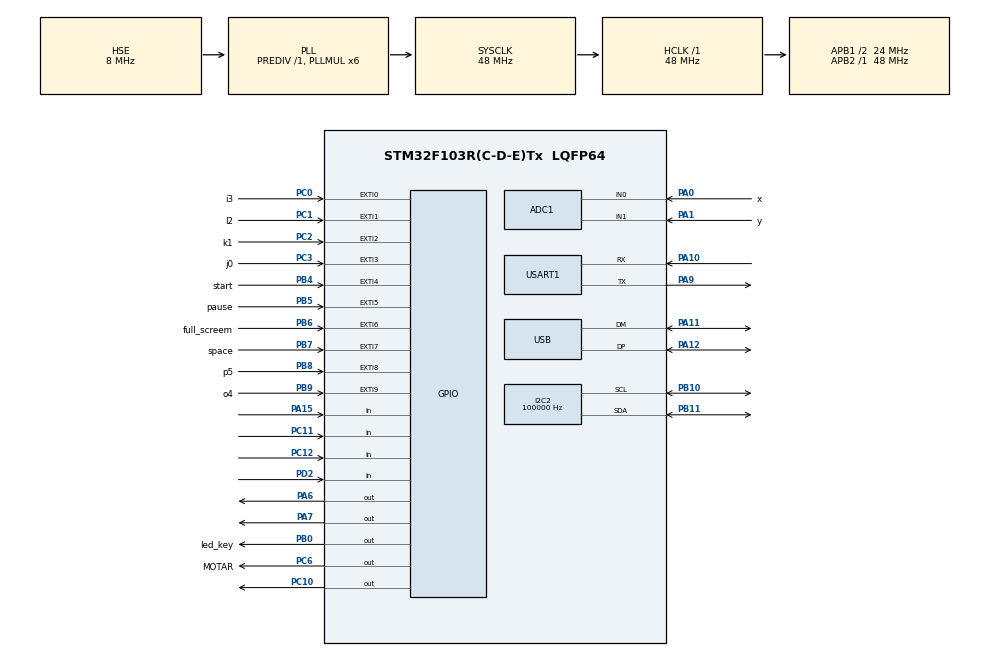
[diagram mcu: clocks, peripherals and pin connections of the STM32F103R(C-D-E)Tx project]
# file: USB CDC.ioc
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ADC1.Channel-0\#ChannelRegularConversion=ADC_CHANNEL_0
ADC1.Channel-1\#ChannelRegularConversion=ADC_CHANNEL_1
ADC1.ContinuousConvMode=ENABLE
ADC1.NbrOfConversion=2
ADC1.NbrOfConversionFlag=1
ADC1.Rank-0\#ChannelRegularConversion=1
ADC1.Rank-1\#ChannelRegularConversion=2
ADC1.SamplingTime-0\#ChannelRegularConversion=ADC_SAMPLETIME_1CYCLE_5
ADC1.SamplingTime-1\#ChannelRegularConversion=ADC_SAMPLETIME_1CYCLE_5
ADC1.master=1
Dma.ADC1.0.Direction=DMA_PERIPH_TO_MEMORY
Dma.ADC1.0.Instance=DMA1_Channel1
Dma.ADC1.0.MemDataAlignment=DMA_MDATAALIGN_WORD
Dma.ADC1.0.MemInc=DMA_MINC_ENABLE
Dma.ADC1.0.Mode=DMA_CIRCULAR
Dma.ADC1.0.PeriphDataAlignment=DMA_PDATAALIGN_WORD
Dma.ADC1.0.PeriphInc=DMA_PINC_DISABLE
Dma.ADC1.0.Priority=DMA_PRIORITY_HIGH
Dma.Request0=ADC1
I2C2.ClockSpeed=100000
Mcu.Family=STM32F1
Mcu.Name=STM32F103R(C-D-E)Tx
Mcu.Package=LQFP64
NVIC.DMA1_Channel1_IRQn=true\:0\:0\:false\:false\:true\:false\:true
NVIC.EXTI0_IRQn=true\:0\:0\:false\:false\:true\:true\:true
NVIC.EXTI1_IRQn=true\:0\:0\:false\:false\:true\:true\:true
NVIC.EXTI2_IRQn=true\:0\:0\:false\:false\:true\:true\:true
NVIC.EXTI3_IRQn=true\:0\:0\:false\:false\:true\:true\:true
NVIC.EXTI4_IRQn=true\:0\:0\:false\:false\:true\:true\:true
NVIC.EXTI9_5_IRQn=true\:0\:0\:false\:false\:true\:true\:true
NVIC.PriorityGroup=NVIC_PRIORITYGROUP_4
NVIC.TIM1_BRK_IRQn=true\:0\:0\:false\:false\:true\:true\:true
NVIC.TIM1_UP_IRQn=true\:0\:0\:false\:false\:true\:true\:true
NVIC.TIM3_IRQn=true\:0\:0\:false\:false\:true\:true\:true
NVIC.USB_LP_CAN1_RX0_IRQn=true\:0\:0\:false\:false\:true\:false\:true
PA0-WKUP.GPIO_Label=x
PA0-WKUP.GPIO_Mode=GPIO_MODE_ANALOG
PA0-WKUP.Signal=ADCx_IN0
PA1.GPIO_Label=y
PA1.Signal=ADCx_IN1
PA10.Mode=Asynchronous
PA10.Signal=USART1_RX
PA11.Mode=Device
PA11.Signal=USB_DM
PA12.Mode=Device
PA12.Signal=USB_DP
PA13.Mode=Serial_Wire
PA13.Signal=SYS_JTMS-SWDIO
PA14.Mode=Serial_Wire
PA14.Signal=SYS_JTCK-SWCLK
PA15.GPIO_Mode=GPIO_MODE_INPUT
PA15.GPIO_PuPd=GPIO_NOPULL
PA15.Signal=GPIO_Input
PA6.GPIO_Speed=GPIO_SPEED_FREQ_LOW
PA6.Signal=GPIO_Output
PA7.GPIO_Speed=GPIO_SPEED_FREQ_LOW
PA7.Signal=GPIO_Output
PA9.Mode=Asynchronous
PA9.Signal=USART1_TX
PB0.GPIO_Label=led_key
PB0.GPIO_PuPd=GPIO_NOPULL
PB0.Signal=GPIO_Output
PB10.Mode=I2C
PB10.Signal=I2C2_SCL
PB11.Mode=I2C
PB11.Signal=I2C2_SDA
PB4.GPIO_Label=start
PB4.GPIO_ModeDefaultEXTI=GPIO_MODE_IT_RISING_FALLING
PB4.GPIO_PuPd=GPIO_PULLUP
PB4.Signal=GPXTI4
PB5.GPIO_Label=pause
PB5.GPIO_ModeDefaultEXTI=GPIO_MODE_IT_RISING_FALLING
PB5.GPIO_PuPd=GPIO_PULLUP
PB5.Signal=GPXTI5
PB6.GPIO_Label=full_screem
PB6.GPIO_ModeDefaultEXTI=GPIO_MODE_IT_RISING_FALLING
PB6.GPIO_PuPd=GPIO_PULLUP
PB6.Signal=GPXTI6
PB7.GPIO_Label=space
PB7.GPIO_ModeDefaultEXTI=GPIO_MODE_IT_RISING_FALLING
PB7.GPIO_PuPd=GPIO_PULLUP
PB7.Signal=GPXTI7
PB8.GPIO_Label=p5
PB8.GPIO_ModeDefaultEXTI=GPIO_MODE_IT_RISING_FALLING
PB8.GPIO_PuPd=GPIO_PULLUP
PB8.Signal=GPXTI8
PB9.GPIO_Label=o4
PB9.GPIO_ModeDefaultEXTI=GPIO_MODE_IT_RISING_FALLING
PB9.GPIO_PuPd=GPIO_PULLUP
PB9.Signal=GPXTI9
PC0.GPIO_Label=i3
PC0.GPIO_ModeDefaultEXTI=GPIO_MODE_IT_RISING_FALLING
PC0.GPIO_PuPd=GPIO_PULLUP
PC0.Signal=GPXTI0
PC1.GPIO_Label=l2
PC1.GPIO_ModeDefaultEXTI=GPIO_MODE_IT_RISING_FALLING
PC1.GPIO_PuPd=GPIO_PULLUP
PC1.Signal=GPXTI1
PC10.GPIO_PuPd=GPIO_NOPULL
PC10.Signal=GPIO_Output
PC11.GPIO_PuPd=GPIO_NOPULL
PC11.Signal=GPIO_Input
PC12.GPIO_PuPd=GPIO_NOPULL
PC12.Signal=GPIO_Input
PC2.GPIO_Label=k1
PC2.GPIO_ModeDefaultEXTI=GPIO_MODE_IT_RISING_FALLING
PC2.GPIO_PuPd=GPIO_PULLUP
PC2.Signal=GPXTI2
PC3.GPIO_Label=j0
PC3.GPIO_ModeDefaultEXTI=GPIO_MODE_IT_RISING_FALLING
PC3.GPIO_PuPd=GPIO_PULLUP
PC3.Signal=GPXTI3
PC6.GPIO_Label=MOTAR
PC6.Signal=GPIO_Output
PD0-OSC_IN.Mode=HSE-External-Oscillator
PD0-OSC_IN.Signal=RCC_OSC_IN
PD1-OSC_OUT.Mode=HSE-External-Oscillator
PD1-OSC_OUT.Signal=RCC_OSC_OUT
PD2.GPIO_PuPd=GPIO_NOPULL
PD2.Signal=GPIO_Input
ProjectManager.HeapSize=0x200
ProjectManager.StackSize=0x400
ProjectManager.TargetToolchain=STM32CubeIDE
RCC.ADCPresc=RCC_ADCPCLK2_DIV4
RCC.AHBFreq_Value=48000000
RCC.APB1CLKDivider=RCC_HCLK_DIV2
RCC.APB1Freq_Value=24000000
RCC.APB1TimFreq_Value=48000000
RCC.APB2Freq_Value=48000000
RCC.APB2TimFreq_Value=48000000
RCC.HCLKFreq_Value=48000000
RCC.PLLMUL=RCC_PLL_MUL6
RCC.SYSCLKFreq_VALUE=48000000
RCC.SYSCLKSource=RCC_SYSCLKSOURCE_PLLCLK
RCC.USBFreq_Value=48000000
SH.ADCx_IN0.0=ADC1_IN0,IN0
SH.ADCx_IN1.0=ADC1_IN1,IN1
TIM1.Period=10000-1
TIM1.Prescaler=4800-1
TIM3.AutoReloadPreload=TIM_AUTORELOAD_PRELOAD_ENABLE
TIM3.Period=2000-1
TIM3.Prescaler=1080-1
TIM3.TIM_MasterSlaveMode=TIM_MASTERSLAVEMODE_DISABLE
USART1.VirtualMode=VM_ASYNC
USB_DEVICE.CLASS_NAME_FS=CDC
USB_DEVICE.MANUFACTURER_STRING=DFRobot
USB_DEVICE.PID_CDC_FS=23333
USB_DEVICE.PRODUCT_STRING_CDC_FS=DFRobot Mind+ KeyBoard
USB_DEVICE.VID=0x3343
USB_DEVICE.VirtualMode=Cdc
USB_DEVICE.VirtualModeFS=Cdc_FS
VP_TIM1_VS_ClockSourceINT.Mode=Internal
VP_TIM3_VS_ClockSourceINT.Mode=Internal
VP_USB_DEVICE_VS_USB_DEVICE_CDC_FS.Mode=CDC_FS
board=custom

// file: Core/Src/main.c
/* USER CODE BEGIN Header */
/**
  ******************************************************************************
  * @file           : main.c
  * @brief          : Main program body
  ******************************************************************************
  * @attention
  *
  * <h2><center>&copy; Copyright (c) 2020 STMicroelectronics.
  * All rights reserved.</center></h2>
  *
  * This software component is licensed by ST under BSD 3-Clause license,
  * the "License"; You may not use this file except in compliance with the
  * License. You may obtain a copy of the License at:
  *                        opensource.org/licenses/BSD-3-Clause
  *
  ******************************************************************************
  */
/* USER CODE END Header */

#include "main.h"
#include "usb_device.h"

/* USER CODE BEGIN PD */
#include "stdio.h"//别忘了她

/* USER CODE END PD */

ADC_HandleTypeDef hadc1;
DMA_HandleTypeDef hdma_adc1;

I2C_HandleTypeDef hi2c2;

TIM_HandleTypeDef htim1;
TIM_HandleTypeDef htim3;

UART_HandleTypeDef huart1;

/* USER CODE BEGIN PV */
#ifdef __GNUC__

#define PUTCHAR_PROTOTYPE int __io_putchar(int ch)

#else

#define PUTCHAR_PROTOTYPE int fputc(int ch, FILE *f)

#endif

PUTCHAR_PROTOTYPE

{

//同样USART2改为你的串口

HAL_UART_Transmit(&huart1, (uint8_t*)&ch,1,HAL_MAX_DELAY);

    return ch;

}
/* USER CODE END PV */

void SystemClock_Config(void);
static void MX_GPIO_Init(void);
static void MX_DMA_Init(void);
static void MX_TIM3_Init(void);
static void MX_USART1_UART_Init(void);
static void MX_ADC1_Init(void);
static void MX_I2C2_Init(void);
static void MX_TIM1_Init(void);
/* USER CODE BEGIN PFP */
extern uint8_t my_RxBuf[100];
extern uint8_t flag2;
extern uint32_t my_RxLength;
extern USBD_HandleTypeDef hUsbDeviceFS;
uint8_t flag0=0;
uint8_t flag1=0;
static float old_x=1.6;
static float old_y=1.6;
/* USER CODE END PFP */

/* USER CODE BEGIN 0 */
extern uint8_t key_up[8];

extern uint8_t a_down[8];
extern uint8_t d_down[8];

extern uint8_t w_down[8];
extern uint8_t s_down[8];

extern uint8_t j_down[8];
extern uint8_t k_down[8];
extern uint8_t l_down[8];
extern uint8_t i_down[8];
extern uint8_t o_down[8];
extern uint8_t p_down[8];
extern uint8_t space_down[8];

uint8_t start_down[8]={0x01,0x00,0x3e,0x00,0x00,0x00,0x00,0x00};
uint8_t pause_down[8]={0x01,0x00,0x3f,0x00,0x00,0x00,0x00,0x00};
uint8_t full_screem_down[8]={0x01,0x00,0x45,0x00,0x00,0x00,0x00,0x00};

float ad0,ad1;
void HAL_GPIO_EXTI_Callback(uint16_t GPIO_Pin)
{
	 if(GPIO_Pin == GPIO_PIN_3){
		 if(1==HAL_GPIO_ReadPin(GPIOC, GPIO_PIN_3))
		 {
			 DFR_USBD_KEYBOARD_HID_SendReport(&hUsbDeviceFS,key_up,8);
			 HAL_GPIO_WritePin(GPIOB, GPIO_PIN_0,0);
		 }else{
			 DFR_USBD_KEYBOARD_HID_SendReport(&hUsbDeviceFS,j_down,8);
			 HAL_GPIO_WritePin(GPIOB, GPIO_PIN_0,1);
		 }
		 __HAL_GPIO_EXTI_CLEAR_IT(GPIO_PIN_3);
	 }else if(GPIO_Pin == GPIO_PIN_2){
		 if(1==HAL_GPIO_ReadPin(GPIOC, GPIO_PIN_2))
		 {
			 DFR_USBD_KEYBOARD_HID_SendReport(&hUsbDeviceFS,key_up,8);
			 HAL_GPIO_WritePin(GPIOB, GPIO_PIN_0,0);
		 }else{
			 DFR_USBD_KEYBOARD_HID_SendReport(&hUsbDeviceFS,k_down,8);
			 HAL_GPIO_WritePin(GPIOB, GPIO_PIN_0,1);
		 }
		 __HAL_GPIO_EXTI_CLEAR_IT(GPIO_PIN_2);
	 }else if(GPIO_Pin == GPIO_PIN_1){
		 if(1==HAL_GPIO_ReadPin(GPIOC, GPIO_PIN_1))
		 {
			 DFR_USBD_KEYBOARD_HID_SendReport(&hUsbDeviceFS,key_up,8);
			 HAL_GPIO_WritePin(GPIOB, GPIO_PIN_0,0);
		 }
		 else
		 {
			 DFR_USBD_KEYBOARD_HID_SendReport(&hUsbDeviceFS,l_down,8);
			 HAL_GPIO_WritePin(GPIOB, GPIO_PIN_0,1);
		 }
		 __HAL_GPIO_EXTI_CLEAR_IT(GPIO_PIN_1);
	 }else if(GPIO_Pin == GPIO_PIN_0){
		 if(1==HAL_GPIO_ReadPin(GPIOC, GPIO_PIN_0))
		 {
			 DFR_USBD_KEYBOARD_HID_SendReport(&hUsbDeviceFS,key_up,8);
			 HAL_GPIO_WritePin(GPIOB, GPIO_PIN_0,0);
		 }
		 else
		 {
			 DFR_USBD_KEYBOARD_HID_SendReport(&hUsbDeviceFS,i_down,8);
			 HAL_GPIO_WritePin(GPIOB, GPIO_PIN_0,1);
		 }
		 __HAL_GPIO_EXTI_CLEAR_IT(GPIO_PIN_0);
	 }else if(GPIO_Pin == GPIO_PIN_9){
		 if(1==HAL_GPIO_ReadPin(GPIOB, GPIO_PIN_9))
		 {
			 DFR_USBD_KEYBOARD_HID_SendReport(&hUsbDeviceFS,key_up,8);
			 HAL_GPIO_WritePin(GPIOB, GPIO_PIN_0,0);
		 }
		 else
		 {
			 DFR_USBD_KEYBOARD_HID_SendReport(&hUsbDeviceFS,o_down,8);
			 HAL_GPIO_WritePin(GPIOB, GPIO_PIN_0,1);
		 }
		 __HAL_GPIO_EXTI_CLEAR_IT(GPIO_PIN_9);
	 }else if(GPIO_Pin == GPIO_PIN_8){
		 if(1==HAL_GPIO_ReadPin(GPIOB, GPIO_PIN_8))
		 {
			 DFR_USBD_KEYBOARD_HID_SendReport(&hUsbDeviceFS,key_up,8);
			 HAL_GPIO_WritePin(GPIOB, GPIO_PIN_0,0);
		 }
		 else
		 {
			 DFR_USBD_KEYBOARD_HID_SendReport(&hUsbDeviceFS,p_down,8);
			 HAL_GPIO_WritePin(GPIOB, GPIO_PIN_0,1);
		 }
		 __HAL_GPIO_EXTI_CLEAR_IT(GPIO_PIN_8);
	 }else if(GPIO_Pin == GPIO_PIN_7){
		 if(1==HAL_GPIO_ReadPin(GPIOB, GPIO_PIN_7))
		 {
			 DFR_USBD_KEYBOARD_HID_SendReport(&hUsbDeviceFS,key_up,8);
			 HAL_GPIO_WritePin(GPIOB, GPIO_PIN_0,0);
		 }
		 else
		 {
			 DFR_USBD_KEYBOARD_HID_SendReport(&hUsbDeviceFS,space_down,8);
			 HAL_GPIO_WritePin(GPIOB, GPIO_PIN_0,1);
		 }
		 __HAL_GPIO_EXTI_CLEAR_IT(GPIO_PIN_7);
	 }else if(GPIO_Pin == GPIO_PIN_4){
		 if(1==HAL_GPIO_ReadPin(GPIOB, GPIO_PIN_4))
		 {
			 DFR_USBD_KEYBOARD_HID_SendReport(&hUsbDeviceFS,key_up,8);
			 HAL_GPIO_WritePin(GPIOB, GPIO_PIN_0,0);
		 }
		 else
		 {
			 DFR_USBD_KEYBOARD_HID_SendReport(&hUsbDeviceFS,start_down,8);
			 HAL_GPIO_WritePin(GPIOB, GPIO_PIN_0,1);
		 }
		 __HAL_GPIO_EXTI_CLEAR_IT(GPIO_PIN_4);
	 }else if(GPIO_Pin == GPIO_PIN_5){
		 if(1==HAL_GPIO_ReadPin(GPIOB, GPIO_PIN_5))
		 {
			 DFR_USBD_KEYBOARD_HID_SendReport(&hUsbDeviceFS,key_up,8);
			 HAL_GPIO_WritePin(GPIOB, GPIO_PIN_0,0);
		 }
		 else
		 {
			 DFR_USBD_KEYBOARD_HID_SendReport(&hUsbDeviceFS,pause_down,8);
			 HAL_GPIO_WritePin(GPIOB, GPIO_PIN_0,1);
		 }
		 __HAL_GPIO_EXTI_CLEAR_IT(GPIO_PIN_5);
	 }else if(GPIO_Pin == GPIO_PIN_6){
		 if(1==HAL_GPIO_ReadPin(GPIOB, GPIO_PIN_6))
		 {
			 DFR_USBD_KEYBOARD_HID_SendReport(&hUsbDeviceFS,key_up,8);
			 HAL_GPIO_WritePin(GPIOB, GPIO_PIN_0,0);
		 }
		 else
		 {
			 DFR_USBD_KEYBOARD_HID_SendReport(&hUsbDeviceFS,full_screem_down,8);
			 HAL_GPIO_WritePin(GPIOB, GPIO_PIN_0,1);
		 }
		 __HAL_GPIO_EXTI_CLEAR_IT(GPIO_PIN_6);
	 }else{
		 ;
	 }
}

void reportAnalogstick(){
	if(fabs(old_x-ad0)>=1){
//		HAL_Delay(1);
		printf("old_x==%f\n",old_x);
		printf("ad0==%f\n",ad0);
		if(ad0<0.6){
			old_x=ad0;
			DFR_USBD_KEYBOARD_HID_SendReport(&hUsbDeviceFS,a_down,8);
		}else if(ad0>2.6){
			old_x=ad0;
			DFR_USBD_KEYBOARD_HID_SendReport(&hUsbDeviceFS,d_down,8);
		}else{
			old_x=1.6;
			DFR_USBD_KEYBOARD_HID_SendReport(&hUsbDeviceFS,key_up,8);
		}

	}

	if(fabs(old_y-ad1)>=1){
//		HAL_Delay(1);
		printf("old_y==%f\n",old_y);
		printf("ad1==%f\n",ad1);
		if(ad1<0.6){
			old_y=ad1;
			DFR_USBD_KEYBOARD_HID_SendReport(&hUsbDeviceFS,s_down,8);
		}else if(ad1>2.6){
			old_y=ad1;
			DFR_USBD_KEYBOARD_HID_SendReport(&hUsbDeviceFS,w_down,8);
		}else{
			old_y=1.6;
			DFR_USBD_KEYBOARD_HID_SendReport(&hUsbDeviceFS,key_up,8);
		}

	}
}

void LED_test(){
	while(1){
		HAL_GPIO_WritePin(GPIOB, GPIO_PIN_0,1);
		HAL_Delay(1000);
		HAL_GPIO_WritePin(GPIOB, GPIO_PIN_0,0);
		HAL_Delay(1000);
	}
}

void user_pwm_setvalue(uint16_t value){
    TIM_OC_InitTypeDef sConfigOC;
    sConfigOC.OCMode = TIM_OCMODE_PWM1;
    sConfigOC.Pulse = value;
    sConfigOC.OCPolarity = TIM_OCPOLARITY_HIGH;
    sConfigOC.OCFastMode = TIM_OCFAST_DISABLE;
    HAL_TIM_PWM_ConfigChannel(&htim3, &sConfigOC, TIM_CHANNEL_1);
    HAL_TIM_PWM_Start(&htim3, TIM_CHANNEL_1);
}

void PWMtest(){

}

void BMI160test(void){
	begin(0,0x69);
	while(1){
		printf("x==%f,y==%f,z==%f,\n",getAccX(),getAccY(),getAccZ());
		printf("STEP==%d\n",getstep());
		HAL_Delay(1000);
	}
}

void HUKSYLENS_test(){
}

void M_TEST(){
	while(1){
		HAL_GPIO_WritePin(GPIOC, GPIO_PIN_6,1);
		HAL_Delay(1000);
		HAL_GPIO_WritePin(GPIOC, GPIO_PIN_6,0);
		HAL_Delay(1000);
	}
}

uint32_t ADC_Value[100];

void HAL_ADC_ConvCpltCallback(ADC_HandleTypeDef* hadc)
{
  ad0 = (float)ADC_Value[0] / 4096 * 3.3;
  ad1 = (float)ADC_Value[1] / 4096 * 3.3;
}

void HAL_TIM_PeriodElapsedCallback(TIM_HandleTypeDef *htim)
{
	if(htim->Instance==TIM1)
	{
//		reportAnalogstick();
	}

}

/* USER CODE END 0 */

int main(void)
{
  /* USER CODE BEGIN 1 */
	SCB->VTOR=0x0800e000;
  /* USER CODE END 1 */

  /* MCU Configuration--------------------------------------------------------*/

  /* Reset of all peripherals, Initializes the Flash interface and the Systick. */
  HAL_Init();

  /* USER CODE BEGIN Init */
  HAL_TIM_PWM_Start(&htim3,TIM_CHANNEL_1);
  /* USER CODE END Init */

  /* Configure the system clock */
  SystemClock_Config();

  /* USER CODE BEGIN SysInit */
  HAL_GPIO_WritePin(GPIOC, GPIO_PIN_10,0);
  /* USER CODE END SysInit */

  /* Initialize all configured peripherals */
  MX_GPIO_Init();
  MX_DMA_Init();
  MX_USB_DEVICE_Init();
  MX_TIM3_Init();
  MX_USART1_UART_Init();
  MX_ADC1_Init();
  MX_I2C2_Init();
  MX_TIM1_Init();
  /* USER CODE BEGIN 2 */
  HAL_TIM_Base_Start_IT((TIM_HandleTypeDef *)&htim1);
  HAL_GPIO_WritePin(GPIOC, GPIO_PIN_10,1);
  /* USER CODE END 2 */

  /* Infinite loop */
  /* USER CODE BEGIN WHILE */
  HAL_ADC_Start_DMA(&hadc1,ADC_Value,100);
  while (1){
    /* USER CODE END WHILE */

    /* USER CODE BEGIN 3 */
	  reportAnalogstick();
	  if(flag2==1){
		  firmata_parse(my_RxBuf,my_RxLength);
		  flag2=0;
	  }
  }
  /* USER CODE END 3 */
}

void SystemClock_Config(void){
  RCC_OscInitTypeDef RCC_OscInitStruct = {0};
  RCC_ClkInitTypeDef RCC_ClkInitStruct = {0};
  RCC_PeriphCLKInitTypeDef PeriphClkInit = {0};

  /** Initializes the CPU, AHB and APB busses clocks
  */
  RCC_OscInitStruct.OscillatorType = RCC_OSCILLATORTYPE_HSE;
  RCC_OscInitStruct.HSEState = RCC_HSE_ON;
  RCC_OscInitStruct.HSEPredivValue = RCC_HSE_PREDIV_DIV1;
  RCC_OscInitStruct.HSIState = RCC_HSI_ON;
  RCC_OscInitStruct.PLL.PLLState = RCC_PLL_ON;
  RCC_OscInitStruct.PLL.PLLSource = RCC_PLLSOURCE_HSE;
  RCC_OscInitStruct.PLL.PLLMUL = RCC_PLL_MUL6;
  if (HAL_RCC_OscConfig(&RCC_OscInitStruct) != HAL_OK)
  {
    Error_Handler();
  }
  /** Initializes the CPU, AHB and APB busses clocks
  */
  RCC_ClkInitStruct.ClockType = RCC_CLOCKTYPE_HCLK|RCC_CLOCKTYPE_SYSCLK
                              |RCC_CLOCKTYPE_PCLK1|RCC_CLOCKTYPE_PCLK2;
  RCC_ClkInitStruct.SYSCLKSource = RCC_SYSCLKSOURCE_PLLCLK;
  RCC_ClkInitStruct.AHBCLKDivider = RCC_SYSCLK_DIV1;
  RCC_ClkInitStruct.APB1CLKDivider = RCC_HCLK_DIV2;
  RCC_ClkInitStruct.APB2CLKDivider = RCC_HCLK_DIV1;

  if (HAL_RCC_ClockConfig(&RCC_ClkInitStruct, FLASH_LATENCY_1) != HAL_OK)
  {
    Error_Handler();
  }
  PeriphClkInit.PeriphClockSelection = RCC_PERIPHCLK_ADC|RCC_PERIPHCLK_USB;
  PeriphClkInit.AdcClockSelection = RCC_ADCPCLK2_DIV4;
  PeriphClkInit.UsbClockSelection = RCC_USBCLKSOURCE_PLL;
  if (HAL_RCCEx_PeriphCLKConfig(&PeriphClkInit) != HAL_OK)
  {
    Error_Handler();
  }
}

static void MX_ADC1_Init(void)
{

  ADC_ChannelConfTypeDef sConfig = {0};

  /** Common config
  */
  hadc1.Instance = ADC1;
  hadc1.Init.ScanConvMode = ADC_SCAN_ENABLE;
  hadc1.Init.ContinuousConvMode = ENABLE;
  hadc1.Init.DiscontinuousConvMode = DISABLE;
  hadc1.Init.ExternalTrigConv = ADC_SOFTWARE_START;
  hadc1.Init.DataAlign = ADC_DATAALIGN_RIGHT;
  hadc1.Init.NbrOfConversion = 2;
  if (HAL_ADC_Init(&hadc1) != HAL_OK)
  {
    Error_Handler();
  }
  /** Configure Regular Channel
  */
  sConfig.Channel = ADC_CHANNEL_0;
  sConfig.Rank = ADC_REGULAR_RANK_1;
  sConfig.SamplingTime = ADC_SAMPLETIME_1CYCLE_5;
  if (HAL_ADC_ConfigChannel(&hadc1, &sConfig) != HAL_OK)
  {
    Error_Handler();
  }
  /** Configure Regular Channel
  */
  sConfig.Channel = ADC_CHANNEL_1;
  sConfig.Rank = ADC_REGULAR_RANK_2;
  if (HAL_ADC_ConfigChannel(&hadc1, &sConfig) != HAL_OK)
  {
    Error_Handler();
  }

}

static void MX_I2C2_Init(void)
{

  hi2c2.Instance = I2C2;
  hi2c2.Init.ClockSpeed = 100000;
  hi2c2.Init.DutyCycle = I2C_DUTYCYCLE_2;
  hi2c2.Init.OwnAddress1 = 0;
  hi2c2.Init.AddressingMode = I2C_ADDRESSINGMODE_7BIT;
  hi2c2.Init.DualAddressMode = I2C_DUALADDRESS_DISABLE;
  hi2c2.Init.OwnAddress2 = 0;
  hi2c2.Init.GeneralCallMode = I2C_GENERALCALL_DISABLE;
  hi2c2.Init.NoStretchMode = I2C_NOSTRETCH_DISABLE;
  if (HAL_I2C_Init(&hi2c2) != HAL_OK)
  {
    Error_Handler();
  }

}

static void MX_TIM1_Init(void)
{

  TIM_ClockConfigTypeDef sClockSourceConfig = {0};
  TIM_MasterConfigTypeDef sMasterConfig = {0};

  htim1.Instance = TIM1;
  htim1.Init.Prescaler = 4800-1;
  htim1.Init.CounterMode = TIM_COUNTERMODE_UP;
  htim1.Init.Period = 10000-1;
  htim1.Init.ClockDivision = TIM_CLOCKDIVISION_DIV1;
  htim1.Init.RepetitionCounter = 0;
  htim1.Init.AutoReloadPreload = TIM_AUTORELOAD_PRELOAD_DISABLE;
  if (HAL_TIM_Base_Init(&htim1) != HAL_OK)
  {
    Error_Handler();
  }
  sClockSourceConfig.ClockSource = TIM_CLOCKSOURCE_INTERNAL;
  if (HAL_TIM_ConfigClockSource(&htim1, &sClockSourceConfig) != HAL_OK)
  {
    Error_Handler();
  }
  sMasterConfig.MasterOutputTrigger = TIM_TRGO_RESET;
  sMasterConfig.MasterSlaveMode = TIM_MASTERSLAVEMODE_DISABLE;
  if (HAL_TIMEx_MasterConfigSynchronization(&htim1, &sMasterConfig) != HAL_OK)
  {
    Error_Handler();
  }

}

static void MX_TIM3_Init(void)
{

  TIM_ClockConfigTypeDef sClockSourceConfig = {0};
  TIM_MasterConfigTypeDef sMasterConfig = {0};

  htim3.Instance = TIM3;
  htim3.Init.Prescaler = 1080-1;
  htim3.Init.CounterMode = TIM_COUNTERMODE_UP;
  htim3.Init.Period = 2000-1;
  htim3.Init.ClockDivision = TIM_CLOCKDIVISION_DIV1;
  htim3.Init.AutoReloadPreload = TIM_AUTORELOAD_PRELOAD_ENABLE;
  if (HAL_TIM_Base_Init(&htim3) != HAL_OK)
  {
    Error_Handler();
  }
  sClockSourceConfig.ClockSource = TIM_CLOCKSOURCE_INTERNAL;
  if (HAL_TIM_ConfigClockSource(&htim3, &sClockSourceConfig) != HAL_OK)
  {
    Error_Handler();
  }
  sMasterConfig.MasterOutputTrigger = TIM_TRGO_RESET;
  sMasterConfig.MasterSlaveMode = TIM_MASTERSLAVEMODE_DISABLE;
  if (HAL_TIMEx_MasterConfigSynchronization(&htim3, &sMasterConfig) != HAL_OK)
  {
    Error_Handler();
  }

}

static void MX_USART1_UART_Init(void)
{

  huart1.Instance = USART1;
  huart1.Init.BaudRate = 115200;
  huart1.Init.WordLength = UART_WORDLENGTH_8B;
  huart1.Init.StopBits = UART_STOPBITS_1;
  huart1.Init.Parity = UART_PARITY_NONE;
  huart1.Init.Mode = UART_MODE_TX_RX;
  huart1.Init.HwFlowCtl = UART_HWCONTROL_NONE;
  huart1.Init.OverSampling = UART_OVERSAMPLING_16;
  if (HAL_UART_Init(&huart1) != HAL_OK)
  {
    Error_Handler();
  }

}

static void MX_DMA_Init(void)
{

  /* DMA controller clock enable */
  __HAL_RCC_DMA1_CLK_ENABLE();

  /* DMA interrupt init */
  /* DMA1_Channel1_IRQn interrupt configuration */
  HAL_NVIC_SetPriority(DMA1_Channel1_IRQn, 0, 0);
  HAL_NVIC_EnableIRQ(DMA1_Channel1_IRQn);

}

static void MX_GPIO_Init(void)
{
  GPIO_InitTypeDef GPIO_InitStruct = {0};

  /* GPIO Ports Clock Enable */
  __HAL_RCC_GPIOD_CLK_ENABLE();
  __HAL_RCC_GPIOC_CLK_ENABLE();
  __HAL_RCC_GPIOA_CLK_ENABLE();
  __HAL_RCC_GPIOB_CLK_ENABLE();

  /*Configure GPIO pin Output Level */
  HAL_GPIO_WritePin(GPIOA, GPIO_PIN_6|GPIO_PIN_7, GPIO_PIN_RESET);

  /*Configure GPIO pin Output Level */
  HAL_GPIO_WritePin(led_key_GPIO_Port, led_key_Pin, GPIO_PIN_RESET);

  /*Configure GPIO pin Output Level */
  HAL_GPIO_WritePin(GPIOC, MOTAR_Pin|GPIO_PIN_10, GPIO_PIN_RESET);

  /*Configure GPIO pins : i3_Pin l2_Pin k1_Pin j0_Pin */
  GPIO_InitStruct.Pin = i3_Pin|l2_Pin|k1_Pin|j0_Pin;
  GPIO_InitStruct.Mode = GPIO_MODE_IT_RISING_FALLING;
  GPIO_InitStruct.Pull = GPIO_PULLUP;
  HAL_GPIO_Init(GPIOC, &GPIO_InitStruct);

  /*Configure GPIO pins : PA6 PA7 */
  GPIO_InitStruct.Pin = GPIO_PIN_6|GPIO_PIN_7;
  GPIO_InitStruct.Mode = GPIO_MODE_OUTPUT_PP;
  GPIO_InitStruct.Pull = GPIO_NOPULL;
  GPIO_InitStruct.Speed = GPIO_SPEED_FREQ_LOW;
  HAL_GPIO_Init(GPIOA, &GPIO_InitStruct);

  /*Configure GPIO pin : led_key_Pin */
  GPIO_InitStruct.Pin = led_key_Pin;
  GPIO_InitStruct.Mode = GPIO_MODE_OUTPUT_PP;
  GPIO_InitStruct.Pull = GPIO_NOPULL;
  GPIO_InitStruct.Speed = GPIO_SPEED_FREQ_LOW;
  HAL_GPIO_Init(led_key_GPIO_Port, &GPIO_InitStruct);

  /*Configure GPIO pins : MOTAR_Pin PC10 */
  GPIO_InitStruct.Pin = MOTAR_Pin|GPIO_PIN_10;
  GPIO_InitStruct.Mode = GPIO_MODE_OUTPUT_PP;
  GPIO_InitStruct.Pull = GPIO_NOPULL;
  GPIO_InitStruct.Speed = GPIO_SPEED_FREQ_LOW;
  HAL_GPIO_Init(GPIOC, &GPIO_InitStruct);

  /*Configure GPIO pin : PA15 */
  GPIO_InitStruct.Pin = GPIO_PIN_15;
  GPIO_InitStruct.Mode = GPIO_MODE_INPUT;
  GPIO_InitStruct.Pull = GPIO_NOPULL;
  HAL_GPIO_Init(GPIOA, &GPIO_InitStruct);

  /*Configure GPIO pins : PC11 PC12 */
  GPIO_InitStruct.Pin = GPIO_PIN_11|GPIO_PIN_12;
  GPIO_InitStruct.Mode = GPIO_MODE_INPUT;
  GPIO_InitStruct.Pull = GPIO_NOPULL;
  HAL_GPIO_Init(GPIOC, &GPIO_InitStruct);

  /*Configure GPIO pin : PD2 */
  GPIO_InitStruct.Pin = GPIO_PIN_2;
  GPIO_InitStruct.Mode = GPIO_MODE_INPUT;
  GPIO_InitStruct.Pull = GPIO_NOPULL;
  HAL_GPIO_Init(GPIOD, &GPIO_InitStruct);

  /*Configure GPIO pins : start_Pin pause_Pin full_screem_Pin space_Pin
                           p5_Pin o4_Pin */
  GPIO_InitStruct.Pin = start_Pin|pause_Pin|full_screem_Pin|space_Pin
                          |p5_Pin|o4_Pin;
  GPIO_InitStruct.Mode = GPIO_MODE_IT_RISING_FALLING;
  GPIO_InitStruct.Pull = GPIO_PULLUP;
  HAL_GPIO_Init(GPIOB, &GPIO_InitStruct);

  /* EXTI interrupt init*/
  HAL_NVIC_SetPriority(EXTI0_IRQn, 0, 0);
  HAL_NVIC_EnableIRQ(EXTI0_IRQn);

  HAL_NVIC_SetPriority(EXTI1_IRQn, 0, 0);
  HAL_NVIC_EnableIRQ(EXTI1_IRQn);

  HAL_NVIC_SetPriority(EXTI2_IRQn, 0, 0);
  HAL_NVIC_EnableIRQ(EXTI2_IRQn);

  HAL_NVIC_SetPriority(EXTI3_IRQn, 0, 0);
  HAL_NVIC_EnableIRQ(EXTI3_IRQn);

  HAL_NVIC_SetPriority(EXTI4_IRQn, 0, 0);
  HAL_NVIC_EnableIRQ(EXTI4_IRQn);

  HAL_NVIC_SetPriority(EXTI9_5_IRQn, 0, 0);
  HAL_NVIC_EnableIRQ(EXTI9_5_IRQn);

}

void Error_Handler(void)
{
}

/************************ (C) COPYRIGHT STMicroelectronics *****END OF FILE****/
